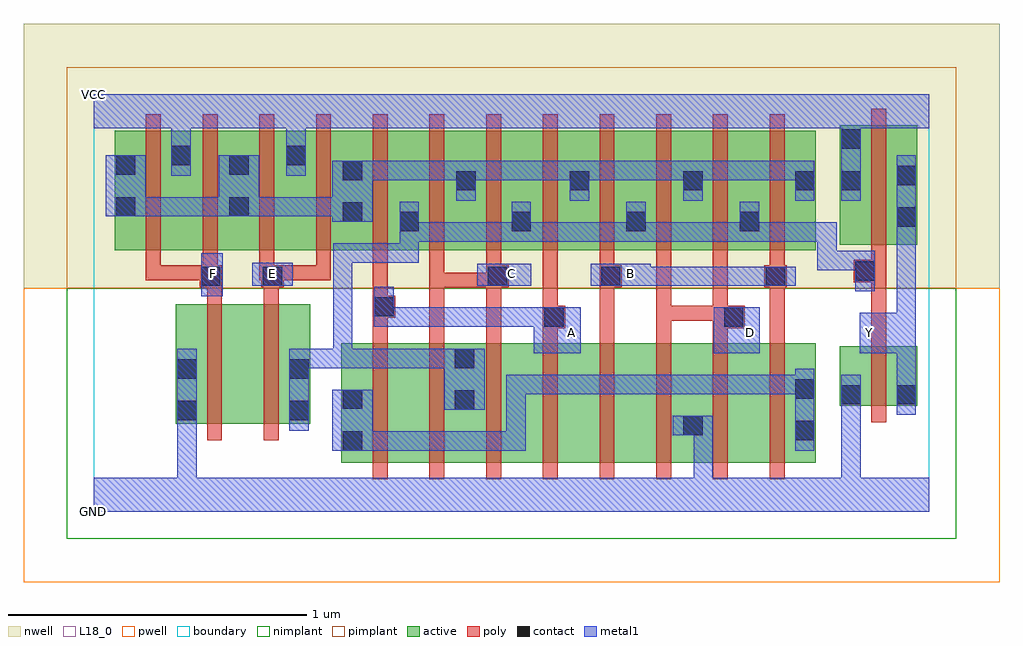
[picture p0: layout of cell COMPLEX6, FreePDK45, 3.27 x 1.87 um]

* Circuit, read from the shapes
.subckt COMPLEX6 A B C D E F GND VCC Y
M1 n1 F GND VSUBS nfet w=0.4u l=0.05u
M2 n2 E n1 VSUBS nfet w=0.4u l=0.05u
M3 n3 A n4 VSUBS nfet w=0.4u l=0.05u
M4 n2 C n3 VSUBS nfet w=0.4u l=0.05u
M5 n5 C n2 VSUBS nfet w=0.4u l=0.05u
M6 n6 A n5 VSUBS nfet w=0.4u l=0.05u
M7 n7 B n6 VSUBS nfet w=0.4u l=0.05u
M8 GND D n7 VSUBS nfet w=0.4u l=0.05u
M9 n8 D GND VSUBS nfet w=0.4u l=0.05u
M10 n4 B n8 VSUBS nfet w=0.4u l=0.05u
M11 Y n2 GND VSUBS nfet w=0.2u l=0.05u
M12 VCC F n9 n10 pfet w=0.4u l=0.05u m=2
M13 VCC E n9 n10 pfet w=0.4u l=0.05u m=2
M14 n2 A n9 n10 pfet w=0.4u l=0.05u m=2
M15 n9 C n2 n10 pfet w=0.4u l=0.05u m=2
M16 n2 B n9 n10 pfet w=0.4u l=0.05u m=2
M17 n9 D n2 n10 pfet w=0.4u l=0.05u m=2
M18 Y n2 VCC n10 pfet w=0.4u l=0.05u
.ends

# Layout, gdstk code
import gdstk
lib = gdstk.Library(unit=1e-6, precision=1e-09)
def R(c, l, rs):  # rectangles x0, y0, x1, y1
    for r in rs: c.add(gdstk.rectangle(r[:2], r[2:], *l))
def A(c, l, x, y, w, h, nx, ny, dx, dy):  # array of equal rectangles
    R(c, l, [(x+i*dx, y+j*dy, x+i*dx+w, y+j*dy+h) for i in range(nx) for j in range(ny)])
active = (1, 0)
pwell = (2, 0)
nwell = (3, 0)
nimplant = (4, 0)
pimplant = (5, 0)
poly = (9, 0)
contact = (10, 0)
metal1 = (11, 0)
L18_0 = (18, 0)
boundary = (235, 0)

complex6 = lib.new_cell('COMPLEX6')
A(complex6, active, 0.45, 0.877, 0.265, 0.4, 4, 1, 0.19, 0)
A(complex6, active, 1.59, 0.877, 0.265, 0.4, 3, 1, 0.19, 0)
A(complex6, active, 0.45, 0.907, 0.075, 0.293, 5, 1, 0.38, 0)
R(complex6, active, [(0.83,0.165,1.055,0.565), (1.055,0.165,1.28,0.565), (1.205,0.165,1.435,0.565), (1.435,0.165,1.625,0.565), (1.625,0.165,1.815,0.565), (1.815,0.165,2.045,0.565), (1.97,0.165,2.195,0.565), (2.195,0.165,2.42,0.565), (0.83,0.2,0.905,0.492), (2.345,0.207,2.42,0.565), (1.97,0.252,2.045,0.377), (0.275,0.295,0.5,0.695), (0.275,0.295,0.35,0.695), (0.5,0.295,0.725,0.695), (0.65,0.295,0.725,0.695), (1.205,0.295,1.28,0.552), (2.5,0.355,2.575,0.555), (2.5,0.355,2.76,0.555), (2.685,0.355,2.76,0.555), (0.07,0.877,0.33,1.277), (0.07,0.877,0.145,1.2), (0.255,0.877,0.525,1.277), (1.02,0.877,1.095,1.07), (1.21,0.877,1.47,1.277), (1.395,0.877,1.47,1.07), (1.395,0.877,1.665,1.277), (1.78,0.877,1.855,1.07), (2.16,0.877,2.42,1.277), (2.345,0.877,2.42,1.2), (2.5,0.895,2.575,1.295), (2.5,0.895,2.76,1.295), (2.685,0.895,2.76,1.2), (0.255,0.907,0.33,1.277), (0.64,0.907,0.715,1.277), (2.16,0.907,2.235,1.07)])
R(complex6, pwell, [(-0.235,-0.235,3.035,0.75)])
R(complex6, nwell, [(-0.235,0.75,3.035,1.635)])
R(complex6, nimplant, [(-0.09,-0.09,2.89,0.75)])
R(complex6, pimplant, [(-0.09,0.75,2.89,1.49)])
A(complex6, poly, 0.935, 0.11, 0.05, 0.51, 8, 1, 0.19, 0)
A(complex6, poly, 0.175, 0.777, 0.05, 0.095, 4, 1, 0.19, 0)
A(complex6, poly, 0.175, 0.822, 0.05, 0.51, 12, 1, 0.19, 0)
R(complex6, poly, [(0.38,0.24,0.43,0.75), (0.57,0.24,0.62,0.75), (2.605,0.3,2.655,0.61), (2.605,0.56,2.655,0.82), (0.935,0.57,0.985,0.7), (1.125,0.57,1.175,0.802), (1.315,0.57,1.365,0.802), (1.505,0.57,1.555,0.665), (1.695,0.57,1.745,0.802), (1.885,0.57,1.935,0.69), (2.075,0.57,2.125,0.665), (2.265,0.57,2.315,0.802), (1.505,0.615,1.58,0.69), (2.075,0.615,2.182,0.69), (1.505,0.64,1.555,0.69), (1.505,0.64,1.555,0.69), (1.505,0.64,1.555,0.872), (1.885,0.64,1.935,0.69), (1.885,0.64,1.935,0.69), (1.885,0.64,1.935,0.69), (1.885,0.64,1.935,0.872), (1.885,0.64,2.125,0.69), (2.075,0.64,2.125,0.69), (2.075,0.64,2.125,0.69), (2.075,0.64,2.125,0.69), (2.075,0.64,2.125,0.69), (2.075,0.64,2.125,0.872), (0.935,0.65,1.01,0.725), (0.935,0.675,0.985,0.725), (0.935,0.675,0.985,0.725), (0.935,0.675,0.985,0.872), (0.38,0.7,0.43,0.802), (0.57,0.7,0.62,0.802), (0.355,0.752,0.43,0.827), (0.38,0.752,0.43,0.802), (0.38,0.752,0.43,0.802), (0.562,0.752,0.637,0.827), (1.125,0.752,1.175,0.802), (1.125,0.752,1.175,0.802), (1.125,0.752,1.175,0.802), (1.125,0.752,1.365,0.802), (1.125,0.752,1.175,0.872), (1.315,0.752,1.365,0.802), (1.315,0.752,1.365,0.802), (1.315,0.752,1.365,0.802), (1.315,0.752,1.365,0.802), (1.315,0.752,1.39,0.827), (1.695,0.752,1.745,0.802), (1.695,0.752,1.745,0.802), (1.695,0.752,1.77,0.827), (2.247,0.752,2.322,0.827), (2.265,0.752,2.315,0.802), (2.265,0.752,2.315,0.802), (2.547,0.77,2.655,0.845), (2.605,0.77,2.655,0.82), (2.605,0.77,2.655,0.82), (0.175,0.777,0.225,0.827), (0.175,0.777,0.405,0.827), (0.355,0.777,0.405,0.827), (0.355,0.777,0.405,0.827), (0.555,0.777,0.612,0.827), (0.562,0.777,0.612,0.827), (0.562,0.777,0.795,0.827), (0.745,0.777,0.795,0.827), (0.745,0.777,0.795,0.827), (0.745,0.777,0.795,0.827), (1.315,0.777,1.365,0.872), (1.695,0.777,1.745,0.872), (2.265,0.777,2.315,0.872), (2.605,0.795,2.655,0.89), (2.605,0.84,2.655,1.35)])
A(complex6, contact, 1.215, 1.077, 0.065, 0.065, 3, 1, 0.38, 0)
R(complex6, contact, [(0.835,0.205,0.9,0.27), (2.35,0.24,2.415,0.305), (1.975,0.257,2.04,0.322), (0.28,0.307,0.345,0.372), (0.655,0.307,0.72,0.372), (1.21,0.342,1.275,0.407), (0.835,0.345,0.9,0.41), (2.505,0.36,2.57,0.425), (2.69,0.36,2.755,0.425), (2.35,0.38,2.415,0.445), (0.28,0.447,0.345,0.512), (0.655,0.447,0.72,0.512), (1.21,0.482,1.275,0.547), (1.51,0.62,1.575,0.685), (2.112,0.62,2.177,0.685), (0.94,0.655,1.005,0.72), (0.36,0.757,0.425,0.822), (0.567,0.757,0.632,0.822), (1.32,0.757,1.385,0.822), (1.7,0.757,1.765,0.822), (2.252,0.757,2.317,0.822), (2.552,0.775,2.617,0.84), (1.025,0.94,1.09,1.005), (1.4,0.94,1.465,1.005), (1.785,0.94,1.85,1.005), (2.165,0.94,2.23,1.005), (2.69,0.955,2.755,1.02), (0.835,0.972,0.9,1.037), (0.075,0.99,0.14,1.055), (0.455,0.99,0.52,1.055), (2.35,1.077,2.415,1.142), (2.505,1.077,2.57,1.142), (2.69,1.095,2.755,1.16), (0.835,1.112,0.9,1.177), (0.075,1.13,0.14,1.195), (0.455,1.13,0.52,1.195), (0.26,1.162,0.325,1.227), (0.645,1.162,0.71,1.227), (2.505,1.217,2.57,1.282)])
A(complex6, metal1, 1.215, 1.042, 0.065, 0.135, 3, 1, 0.38, 0)
R(complex6, metal1, [(0,0,2.8,0.115), (0.28,0.05,0.345,0.337), (2.01,0.05,2.075,0.322), (2.505,0.05,2.57,0.115), (2.505,0.05,2.57,0.115), (2.505,0.05,2.57,0.115), (2.505,0.05,2.57,0.115), (2.505,0.05,2.57,0.39), (0.8,0.205,0.935,0.41), (0.87,0.205,0.935,0.27), (0.87,0.205,0.935,0.27), (0.87,0.205,1.072,0.27), (1.007,0.205,1.072,0.27), (1.007,0.205,1.142,0.27), (1.077,0.205,1.142,0.27), (1.077,0.205,1.28,0.27), (1.215,0.205,1.28,0.27), (1.215,0.205,1.28,0.27), (1.215,0.205,1.28,0.27), (1.215,0.205,1.447,0.27), (1.382,0.205,1.447,0.27), (1.382,0.205,1.447,0.46), (2.35,0.205,2.415,0.48), (1.94,0.257,2.075,0.322), (0.28,0.272,0.345,0.547), (0.655,0.272,0.72,0.547), (2.505,0.325,2.57,0.46), (2.69,0.325,2.755,0.46), (1.175,0.342,1.31,0.547), (1.382,0.395,1.447,0.46), (1.382,0.395,1.447,0.46), (1.382,0.395,1.447,0.46), (1.382,0.395,1.66,0.46), (1.595,0.395,1.66,0.46), (1.595,0.395,1.66,0.46), (1.595,0.395,1.66,0.46), (1.595,0.395,1.85,0.46), (1.785,0.395,1.85,0.46), (1.785,0.395,2.005,0.46), (1.94,0.395,2.005,0.46), (1.94,0.395,2.005,0.46), (1.94,0.395,2.005,0.46), (1.94,0.395,2.142,0.46), (2.077,0.395,2.142,0.46), (2.077,0.395,2.177,0.46), (2.112,0.395,2.177,0.46), (2.112,0.395,2.352,0.46), (2.287,0.395,2.352,0.46), (2.287,0.395,2.415,0.46), (2.69,0.395,2.755,0.597), (0.655,0.482,0.72,0.547), (0.655,0.482,0.72,0.547), (0.655,0.482,0.867,0.547), (0.802,0.482,0.867,0.547), (0.802,0.482,0.867,0.547), (0.802,0.482,0.867,0.547), (0.802,0.482,0.867,0.547), (0.802,0.482,0.867,0.547), (0.802,0.482,1.102,0.547), (0.802,0.482,0.867,0.9), (1.037,0.482,1.102,0.547), (1.037,0.482,1.142,0.547), (1.077,0.482,1.142,0.547), (1.077,0.482,1.24,0.547), (1.475,0.532,1.632,0.685), (2.077,0.532,2.232,0.685), (2.567,0.532,2.755,0.667), (2.69,0.602,2.755,0.985), (2.69,0.602,2.755,0.667), (2.69,0.602,2.755,0.667), (0.94,0.62,1.005,0.755), (0.94,0.62,1.072,0.685), (1.007,0.62,1.072,0.685), (1.007,0.62,1.142,0.685), (1.077,0.62,1.142,0.685), (1.077,0.62,1.31,0.685), (1.245,0.62,1.31,0.685), (1.245,0.62,1.31,0.685), (1.245,0.62,1.31,0.685), (1.245,0.62,1.522,0.685), (1.457,0.62,1.522,0.685), (1.457,0.62,1.54,0.685), (0.36,0.722,0.432,0.867), (2.552,0.74,2.617,0.875), (0.532,0.757,0.667,0.835), (1.285,0.757,1.467,0.832), (1.665,0.757,1.867,0.832), (1.802,0.757,1.867,0.822), (1.802,0.757,1.867,0.822), (1.802,0.757,2.005,0.822), (1.94,0.757,2.005,0.822), (1.94,0.757,2.005,0.822), (1.94,0.757,2.005,0.822), (1.94,0.757,2.145,0.822), (2.08,0.757,2.145,0.822), (2.08,0.757,2.177,0.822), (2.112,0.757,2.177,0.822), (2.112,0.757,2.282,0.822), (2.217,0.757,2.352,0.822), (2.425,0.81,2.49,0.875), (2.425,0.81,2.617,0.875), (2.425,0.81,2.49,0.97), (0.802,0.835,0.867,0.9), (0.802,0.835,0.867,0.9), (0.802,0.835,0.867,0.9), (0.802,0.835,1.09,0.9), (1.025,0.835,1.09,0.9), (1.025,0.835,1.09,0.97), (1.025,0.905,1.09,1.04), (1.025,0.905,1.142,0.97), (1.077,0.905,1.142,0.97), (1.077,0.905,1.31,0.97), (1.245,0.905,1.31,0.97), (1.245,0.905,1.31,0.97), (1.245,0.905,1.31,0.97), (1.245,0.905,1.465,0.97), (1.4,0.905,1.465,0.97), (1.4,0.905,1.465,0.97), (1.4,0.905,1.465,1.04), (1.4,0.905,1.712,0.97), (1.647,0.905,1.712,0.97), (1.647,0.905,1.85,0.97), (1.785,0.905,1.85,0.97), (1.785,0.905,1.85,0.97), (1.785,0.905,1.85,1.04), (1.785,0.905,2.005,0.97), (1.94,0.905,2.005,0.97), (1.94,0.905,2.005,0.97), (1.94,0.905,2.005,0.97), (1.94,0.905,2.142,0.97), (2.077,0.905,2.142,0.97), (2.077,0.905,2.23,0.97), (2.165,0.905,2.23,1.04), (2.165,0.905,2.315,0.97), (2.25,0.905,2.315,0.97), (2.25,0.905,2.442,0.97), (2.377,0.905,2.442,0.97), (2.377,0.905,2.49,0.97), (2.425,0.905,2.49,0.97), (2.69,0.92,2.755,1.195), (0.8,0.972,0.935,1.177), (0.04,0.99,0.175,1.195), (0.11,0.99,0.175,1.055), (0.11,0.99,0.175,1.055), (0.11,0.99,0.312,1.055), (0.247,0.99,0.312,1.055), (0.247,0.99,0.312,1.055), (0.247,0.99,0.312,1.055), (0.247,0.99,0.485,1.055), (0.42,0.99,0.555,1.195), (0.49,0.99,0.555,1.055), (0.49,0.99,0.555,1.055), (0.49,0.99,0.727,1.055), (0.662,0.99,0.727,1.055), (0.662,0.99,0.727,1.055), (0.662,0.99,0.727,1.055), (0.662,0.99,0.865,1.055), (2.35,1.042,2.415,1.177), (2.505,1.042,2.57,1.317), (0.87,1.112,0.935,1.177), (0.87,1.112,0.935,1.177), (0.87,1.112,0.935,1.177), (0.87,1.112,0.935,1.177), (0.87,1.112,1.072,1.177), (1.007,1.112,1.072,1.177), (1.007,1.112,1.142,1.177), (1.077,1.112,1.142,1.177), (1.077,1.112,1.28,1.177), (1.215,1.112,1.28,1.177), (1.215,1.112,1.28,1.177), (1.215,1.112,1.522,1.177), (1.457,1.112,1.522,1.177), (1.457,1.112,1.522,1.177), (1.457,1.112,1.522,1.177), (1.457,1.112,1.66,1.177), (1.595,1.112,1.66,1.177), (1.595,1.112,1.66,1.177), (1.595,1.112,1.85,1.177), (1.785,1.112,1.85,1.177), (1.785,1.112,2.005,1.177), (1.94,1.112,2.005,1.177), (1.94,1.112,2.04,1.177), (1.975,1.112,2.145,1.177), (2.08,1.112,2.145,1.177), (2.08,1.112,2.277,1.177), (2.212,1.112,2.277,1.177), (2.212,1.112,2.282,1.177), (2.217,1.112,2.282,1.177), (2.217,1.112,2.415,1.177), (0.26,1.127,0.325,1.262), (0.645,1.127,0.71,1.262), (0.26,1.197,0.325,1.35), (0.645,1.197,0.71,1.35), (2.505,1.252,2.57,1.35), (0,1.285,2.8,1.4)])
R(complex6, L18_0, [(0,0,2.8,0.115), (0.28,0.05,0.345,0.337), (2.01,0.05,2.075,0.322), (2.505,0.05,2.57,0.115), (2.505,0.05,2.57,0.115), (2.505,0.05,2.57,0.115), (2.505,0.05,2.57,0.115), (2.505,0.05,2.57,0.39), (1.94,0.257,2.075,0.322), (0.28,0.272,0.345,0.547), (2.505,0.325,2.57,0.46), (2.69,0.325,2.755,0.46), (2.69,0.395,2.755,0.597), (1.475,0.532,1.632,0.685), (2.077,0.532,2.232,0.685), (2.567,0.532,2.755,0.667), (1.567,0.567,1.632,0.632), (2.167,0.567,2.232,0.632), (2.567,0.567,2.632,0.632), (2.69,0.602,2.755,0.667), (2.69,0.602,2.755,0.667), (2.69,0.602,2.755,0.985), (0.94,0.62,1.005,0.755), (0.94,0.62,1.072,0.685), (1.007,0.62,1.072,0.685), (1.007,0.62,1.142,0.685), (1.077,0.62,1.142,0.685), (1.077,0.62,1.31,0.685), (1.245,0.62,1.31,0.685), (1.245,0.62,1.31,0.685), (1.245,0.62,1.31,0.685), (1.245,0.62,1.522,0.685), (1.457,0.62,1.522,0.685), (1.457,0.62,1.54,0.685), (0.36,0.722,0.432,0.867), (0.532,0.757,0.667,0.835), (1.285,0.757,1.467,0.832), (1.665,0.757,1.867,0.832), (1.802,0.757,1.867,0.822), (1.802,0.757,1.867,0.822), (1.802,0.757,2.005,0.822), (1.94,0.757,2.005,0.822), (1.94,0.757,2.005,0.822), (1.94,0.757,2.005,0.822), (1.94,0.757,2.145,0.822), (2.08,0.757,2.145,0.822), (2.08,0.757,2.177,0.822), (2.112,0.757,2.177,0.822), (2.112,0.757,2.282,0.822), (2.217,0.757,2.352,0.822), (0.367,0.767,0.432,0.832), (0.567,0.767,0.632,0.832), (1.367,0.767,1.432,0.832), (1.767,0.767,1.832,0.832), (2.69,0.92,2.755,1.195), (2.505,1.042,2.57,1.317), (0.26,1.127,0.325,1.262), (0.645,1.127,0.71,1.262), (0.26,1.197,0.325,1.35), (0.645,1.197,0.71,1.35), (2.505,1.252,2.57,1.35), (0,1.285,2.8,1.4)])
R(complex6, boundary, [(0,0,2.8,1.4)])
complex6.add(gdstk.Label('A', (1.6,0.6), layer=11, texttype=0))
complex6.add(gdstk.Label('B', (1.8,0.8), layer=11, texttype=0))
complex6.add(gdstk.Label('C', (1.4,0.8), layer=11, texttype=0))
complex6.add(gdstk.Label('D', (2.2,0.6), layer=11, texttype=0))
complex6.add(gdstk.Label('E', (0.6,0.8), layer=11, texttype=0))
complex6.add(gdstk.Label('F', (0.4,0.8), layer=11, texttype=0))
complex6.add(gdstk.Label('Y', (2.6,0.6), layer=11, texttype=0))
complex6.add(gdstk.Label('VCC', (0,1.4), layer=11, texttype=0))
complex6.add(gdstk.Label('GND', (0,0), layer=11, texttype=0))

lib.write_gds('COMPLEX6.gds')
